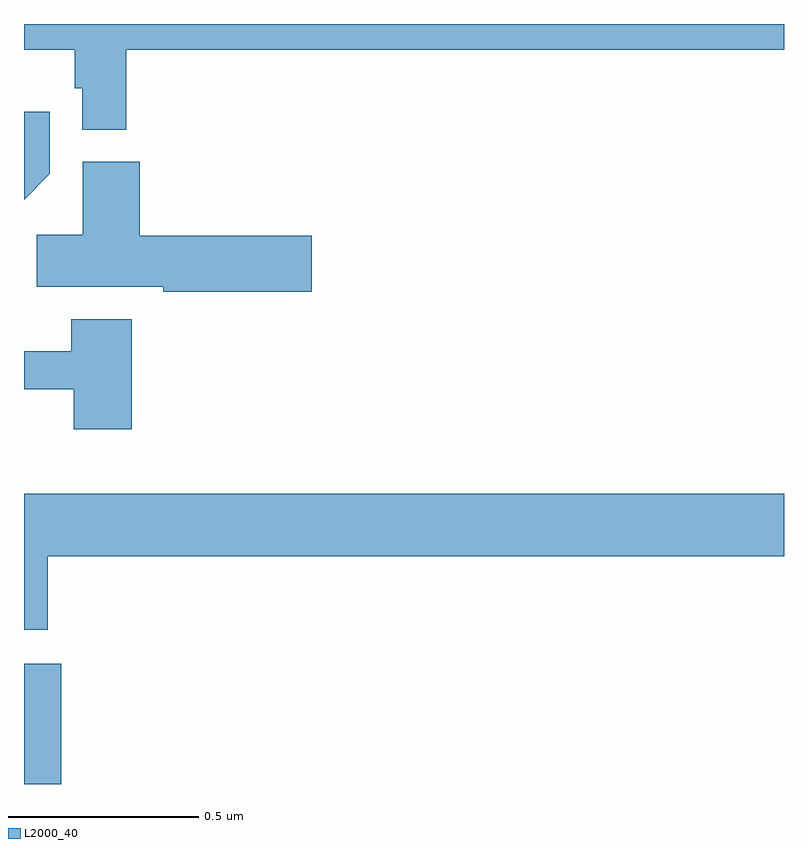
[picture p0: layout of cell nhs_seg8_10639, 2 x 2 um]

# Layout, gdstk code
import gdstk
lib = gdstk.Library(unit=1e-6, precision=1e-09)
def R(c, l, rs):  # rectangles x0, y0, x1, y1
    for r in rs: c.add(gdstk.rectangle(r[:2], r[2:], *l))
def P(c, l, *ps):  # polygons
    for p in ps: c.add(gdstk.Polygon(p, *l))
L2000_40 = (2000, 40)

nhs_seg8_10639 = lib.new_cell('nhs_seg8_10639')
R(nhs_seg8_10639, L2000_40, [(252,1115.9,252.098,1116.217)])
P(nhs_seg8_10639, L2000_40, [(252.269,1117.832),(254,1117.832),(254,1117.9),(252,1117.9),(252,1117.832),(252.133,1117.832),(252.133,1117.731),(252.153,1117.731),(252.153,1117.622),(252.269,1117.622)],
  [(252.068,1117.506),(252.068,1117.669),(252,1117.669),(252,1117.438)],
  [(252.757,1117.343),(252.305,1117.343),(252.305,1117.537),(252.155,1117.537),(252.155,1117.346),(252.034,1117.346),(252.034,1117.208),(252.367,1117.208),(252.367,1117.196),(252.757,1117.196)],
  [(252.284,1117.123),(252.124,1117.123),(252.124,1117.039),(252,1117.039),(252,1116.939),(252.131,1116.939),(252.131,1116.834),(252.284,1116.834)],
  [(252.062,1116.5),(254,1116.5),(254,1116.664),(252,1116.664),(252,1116.306),(252.062,1116.306)])

lib.write_gds('nhs_seg8_10639.gds')
